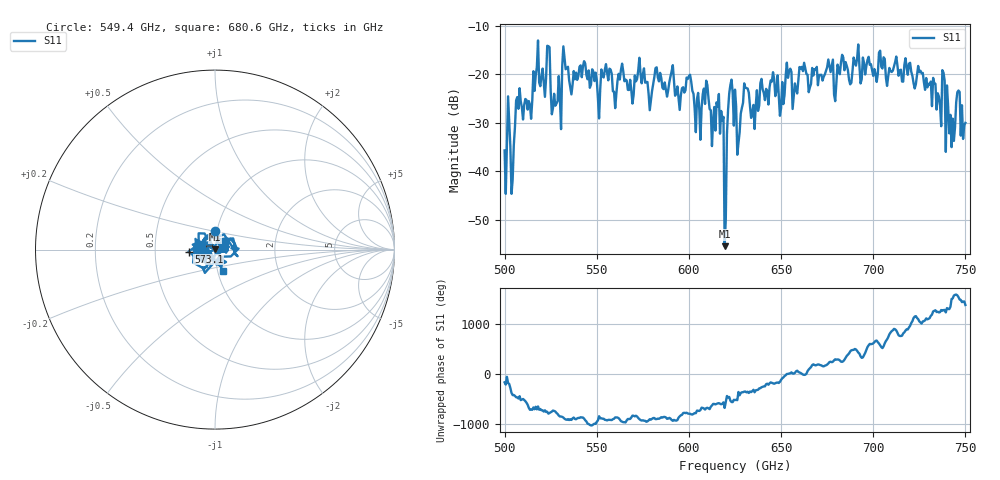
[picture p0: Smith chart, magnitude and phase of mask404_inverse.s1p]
!Created with skrf (http://scikit-rf.org).
# GHz S MA R 50.0
!freq magS11 angS11
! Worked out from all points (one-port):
!   401 points, 500 GHz to 750 GHz, reference 50 ohm
!   lowest |S11| = -55.5 dB at 619.4 GHz (marker M1), VSWR 1.00, Z = 50.1 + j0.125 ohm
!   |S11| at or under -10 dB: start of sweep to end of sweep
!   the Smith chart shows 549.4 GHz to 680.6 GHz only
!   S11 on the Smith chart (normalised r, x): 549.4 GHz: 0.98, +0.21; 573.1 GHz: 0.74, -0.02; 680.6 GHz: 1.06, -0.25
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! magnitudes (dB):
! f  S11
! 500 GHz  -35.7
! 504.4 GHz  -41.7
! 507.5 GHz  -27.1
! 513.8 GHz  -26.3
! 516.9 GHz  -20.3
! 523.8 GHz  -14.2
! 526.9 GHz  -24.0
! 531.2 GHz  -18.4
! 549.4 GHz  -19.7
! 562.5 GHz  -21.1
! 573.1 GHz  -16.6
! 593.8 GHz  -22.5
! 600 GHz  -20.4
! 605 GHz  -23.9
! 608.8 GHz  -26.1
! 613.1 GHz  -29.6
! 616.2 GHz  -24.1
! 619.4 GHz  -55.5
! 620.6 GHz  -32.4
! 622.5 GHz  -22.2
! 625 GHz  -23.2
! 627.5 GHz  -32.1
! 631.2 GHz  -22.9
! 656.2 GHz  -27.2
! 680.6 GHz  -18.0
! 687.5 GHz  -22.1
! 718.8 GHz  -20.1
! 750 GHz  -30.0
